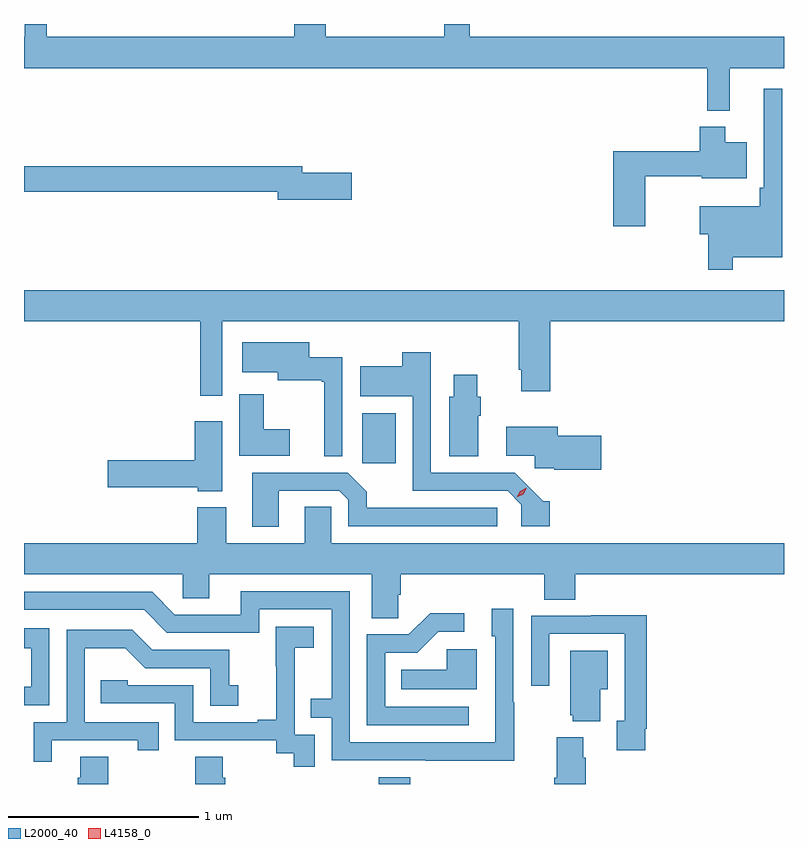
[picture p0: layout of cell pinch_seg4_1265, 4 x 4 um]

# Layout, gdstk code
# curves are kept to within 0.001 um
import gdstk
lib = gdstk.Library(unit=1e-6, precision=1e-09)
def R(c, l, rs):  # rectangles x0, y0, x1, y1
    for r in rs: c.add(gdstk.rectangle(r[:2], r[2:], *l))
def P(c, l, *ps):  # polygons
    for p in ps: c.add(gdstk.Polygon(p, *l))
L2000_40 = (2000, 40)
L4158_0 = (4158, 0)

pinch_seg4_1265 = lib.new_cell('pinch_seg4_1265')
R(pinch_seg4_1265, L2000_40, [(377.441,773.072,377.606,773.107), (377.354,774.761,377.53,775.024)])
P(pinch_seg4_1265, L2000_40, [(379.289,776.84),(379.574,776.84),(379.574,777.004),(377.921,777.004),(377.921,777.072),(377.785,777.072),(377.785,777.004),(377.162,777.004),(377.162,777.072),(376.997,777.072),(376.997,777.004),(375.695,777.004),(375.695,777.072),(375.578,777.072),(375.578,777.004),(375.574,777.004),(375.574,776.84),(379.171,776.84),(379.171,776.615),(379.289,776.615)],
  [(379.303,775.844),(379.564,775.844),(379.564,776.731),(379.467,776.731),(379.467,776.209),(379.447,776.209),(379.447,776.113),(379.13,776.113),(379.13,775.966),(379.174,775.966),(379.174,775.779),(379.303,775.779)],
  [(378.844,776.272),(379.142,776.272),(379.142,776.261),(379.378,776.261),(379.378,776.449),(379.264,776.449),(379.264,776.53),(379.13,776.53),(379.13,776.401),(378.674,776.401),(378.674,776.007),(378.844,776.007)],
  [(377.299,776.288),(377.038,776.288),(377.038,776.324),(375.574,776.324),(375.574,776.188),(376.91,776.188),(376.91,776.146),(377.299,776.146)],
  [(376.617,775.508),(378.179,775.508),(378.179,775.252),(378.191,775.252),(378.191,775.14),(378.344,775.14),(378.344,775.508),(379.574,775.508),(379.574,775.672),(375.574,775.672),(375.574,775.508),(376.501,775.508),(376.501,775.116),(376.617,775.116)],
  [(377.25,775.318),(377.074,775.318),(377.074,775.396),(376.722,775.396),(376.722,775.238),(376.91,775.238),(376.91,775.196),(377.142,775.196),(377.142,775.189),(377.153,775.189),(377.153,774.796),(377.25,774.796)],
  [(378.34,774.559),(378.308,774.559),(378.156,774.711),(377.715,774.711),(377.715,775.345),(377.566,775.345),(377.566,775.27),(377.343,775.27),(377.343,775.112),(377.619,775.112),(377.619,774.615),(378.12,774.615),(378.192,774.543),(378.192,774.429),(378.34,774.429)],
  [(377.965,775.01),(377.978,775.01),(377.978,775.11),(377.959,775.11),(377.959,775.225),(377.837,775.225),(377.837,775.11),(377.813,775.11),(377.813,774.796),(377.965,774.796)],
  [(376.972,774.94),(376.836,774.94),(376.836,775.123),(376.706,775.123),(376.706,774.8),(376.972,774.8)],
  [(376.618,774.982),(376.472,774.982),(376.472,774.776),(376.014,774.776),(376.014,774.634),(376.488,774.634),(376.488,774.614),(376.618,774.614)],
  [(378.613,774.905),(378.382,774.905),(378.382,774.952),(378.111,774.952),(378.111,774.8),(378.261,774.8),(378.261,774.735),(378.364,774.735),(378.364,774.727),(378.613,774.727)],
  [(376.915,774.615),(377.232,774.615),(377.28,774.567),(377.28,774.429),(378.064,774.429),(378.064,774.525),(377.379,774.525),(377.379,774.609),(377.277,774.711),(376.775,774.711),(376.775,774.426),(376.915,774.426)],
  [(377.544,774.067),(377.558,774.067),(377.558,774.176),(378.311,774.176),(378.311,774.043),(378.476,774.043),(378.476,774.176),(379.574,774.176),(379.574,774.34),(377.19,774.34),(377.19,774.53),(377.051,774.53),(377.051,774.34),(376.639,774.34),(376.639,774.529),(376.487,774.529),(376.487,774.34),(375.574,774.34),(375.574,774.176),(376.41,774.176),(376.41,774.049),(376.549,774.049),(376.549,774.176),(377.405,774.176),(377.405,773.944),(377.544,773.944)],
  [(378.153,773.501),(378.15,773.501),(378.15,773.995),(378.035,773.995),(378.035,773.85),(378.054,773.85),(378.053,773.292),(377.289,773.292),(377.289,774.087),(376.715,774.087),(376.715,773.964),(376.368,773.964),(376.248,774.084),(375.574,774.084),(375.574,773.988),(376.206,773.988),(376.326,773.868),(376.812,773.868),(376.812,773.991),(377.193,773.991),(377.193,773.522),(377.083,773.522),(377.083,773.421),(377.193,773.421),(377.193,773.196),(378.153,773.195)],
  [(377.914,773.478),(377.475,773.478),(377.475,773.763),(377.644,773.763),(377.755,773.874),(377.89,773.874),(377.89,773.972),(377.711,773.972),(377.598,773.859),(377.379,773.859),(377.379,773.382),(377.914,773.382)],
  [(378.844,773.362),(378.851,773.362),(378.851,773.96),(378.559,773.96),(378.559,773.958),(378.243,773.958),(378.243,773.589),(378.339,773.589),(378.339,773.862),(378.735,773.862),(378.735,773.406),(378.695,773.406),(378.695,773.25),(378.844,773.25)],
  [(377.103,773.331),(376.998,773.331),(376.998,773.561),(377,773.561),(377,773.789),(377.098,773.789),(377.098,773.899),(376.9,773.899),(376.9,773.693),(376.901,773.693),(376.901,773.41),(376.805,773.41),(376.805,773.397),(376.464,773.397),(376.464,773.592),(376.119,773.592),(376.119,773.619),(375.979,773.619),(375.979,773.496),(376.368,773.496),(376.368,773.301),(376.902,773.301),(376.902,773.233),(376.995,773.233),(376.995,773.163),(377.103,773.163)],
  [(375.708,773.893),(375.574,773.893),(375.574,773.787),(375.611,773.787),(375.611,773.583),(375.574,773.583),(375.574,773.487),(375.708,773.487)],
  [(375.721,773.301),(376.172,773.301),(376.172,773.25),(376.283,773.25),(376.283,773.397),(375.894,773.397),(375.894,773.786),(376.108,773.786),(376.212,773.682),(376.554,773.682),(376.554,773.484),(376.702,773.484),(376.702,773.593),(376.653,773.593),(376.653,773.778),(376.249,773.778),(376.144,773.883),(375.798,773.883),(375.798,773.397),(375.624,773.397),(375.624,773.19),(375.721,773.19)],
  [(377.956,773.782),(377.799,773.782),(377.799,773.674),(377.56,773.674),(377.56,773.57),(377.956,773.57)],
  [(378.607,773.57),(378.646,773.57),(378.646,773.773),(378.449,773.773),(378.449,773.433),(378.461,773.433),(378.461,773.402),(378.607,773.402)],
  [(378.53,773.21),(378.517,773.21),(378.517,773.317),(378.377,773.317),(378.377,773.104),(378.365,773.104),(378.365,773.072),(378.53,773.072)],
  [(376.017,773.216),(375.869,773.216),(375.869,773.106),(375.857,773.106),(375.857,773.072),(376.017,773.072)],
  [(376.634,773.106),(376.621,773.106),(376.621,773.216),(376.474,773.216),(376.474,773.072),(376.634,773.072)])
P(pinch_seg4_1265, L4158_0, [(378.168,774.581),(378.168,774.581),(378.187,774.613),(378.22,774.63),(378.22,774.63),(378.22,774.63),(378.201,774.598),(378.168,774.581)])

lib.write_gds('pinch_seg4_1265.gds')
